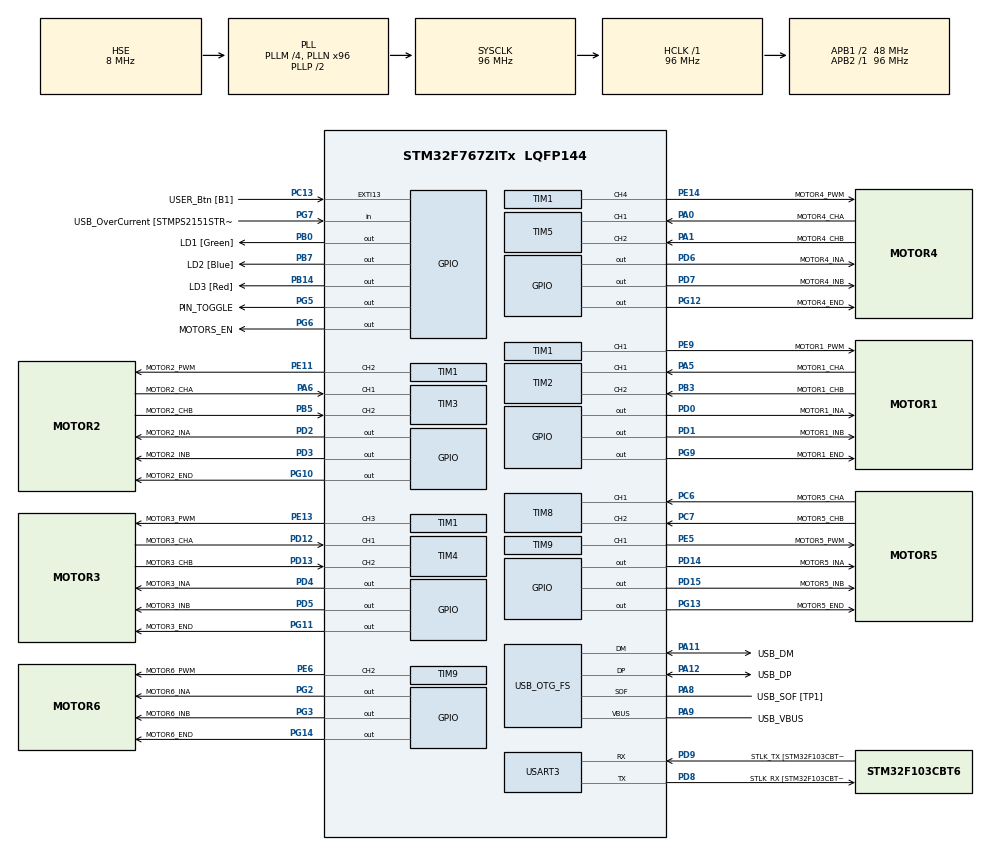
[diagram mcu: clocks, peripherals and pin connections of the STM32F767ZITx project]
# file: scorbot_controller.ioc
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Dma.Request0=USART3_TX
Dma.Request1=USART3_RX
Dma.USART3_RX.1.Direction=DMA_PERIPH_TO_MEMORY
Dma.USART3_RX.1.FIFOMode=DMA_FIFOMODE_DISABLE
Dma.USART3_RX.1.Instance=DMA1_Stream1
Dma.USART3_RX.1.MemDataAlignment=DMA_MDATAALIGN_BYTE
Dma.USART3_RX.1.MemInc=DMA_MINC_ENABLE
Dma.USART3_RX.1.Mode=DMA_CIRCULAR
Dma.USART3_RX.1.PeriphDataAlignment=DMA_PDATAALIGN_BYTE
Dma.USART3_RX.1.PeriphInc=DMA_PINC_DISABLE
Dma.USART3_RX.1.Priority=DMA_PRIORITY_VERY_HIGH
Dma.USART3_TX.0.Direction=DMA_MEMORY_TO_PERIPH
Dma.USART3_TX.0.FIFOMode=DMA_FIFOMODE_DISABLE
Dma.USART3_TX.0.Instance=DMA1_Stream3
Dma.USART3_TX.0.MemDataAlignment=DMA_MDATAALIGN_BYTE
Dma.USART3_TX.0.MemInc=DMA_MINC_ENABLE
Dma.USART3_TX.0.Mode=DMA_NORMAL
Dma.USART3_TX.0.PeriphDataAlignment=DMA_PDATAALIGN_BYTE
Dma.USART3_TX.0.PeriphInc=DMA_PINC_DISABLE
Dma.USART3_TX.0.Priority=DMA_PRIORITY_VERY_HIGH
FREERTOS.Tasks01=defaultTask,24,3000,StartDefaultTask,Default,NULL,Dynamic,NULL,NULL
FREERTOS.configUSE_NEWLIB_REENTRANT=1
Mcu.Family=STM32F7
Mcu.Name=STM32F767ZITx
Mcu.Package=LQFP144
NVIC.DMA1_Stream1_IRQn=true\:5\:0\:false\:false\:true\:true\:false\:true\:true
NVIC.DMA1_Stream3_IRQn=true\:5\:0\:false\:false\:true\:true\:false\:true\:true
NVIC.PriorityGroup=NVIC_PRIORITYGROUP_4
NVIC.TIM6_DAC_IRQn=true\:15\:0\:false\:false\:true\:false\:false\:true\:true
NVIC.TimeBase=TIM6_DAC_IRQn
NVIC.TimeBaseIP=TIM6
NVIC.USART3_IRQn=true\:5\:0\:false\:false\:true\:true\:true\:true\:true
PA0/WKUP.GPIO_Label=MOTOR4_CHA
PA0/WKUP.Signal=S_TIM5_CH1
PA1.GPIO_Label=MOTOR4_CHB
PA1.Signal=S_TIM5_CH2
PA10.GPIO_Label=USB_ID
PA10.Signal=USB_OTG_FS_ID
PA11.GPIO_Label=USB_DM
PA11.Mode=Device_Only
PA11.Signal=USB_OTG_FS_DM
PA12.GPIO_Label=USB_DP
PA12.Mode=Device_Only
PA12.Signal=USB_OTG_FS_DP
PA13.GPIO_Label=TMS
PA13.Mode=Serial_Wire
PA13.Signal=SYS_JTMS-SWDIO
PA14.GPIO_Label=TCK
PA14.Mode=Serial_Wire
PA14.Signal=SYS_JTCK-SWCLK
PA5.GPIO_Label=MOTOR1_CHA
PA5.Signal=S_TIM2_CH1_ETR
PA6.GPIO_Label=MOTOR2_CHA
PA6.Signal=S_TIM3_CH1
PA8.GPIO_Label=USB_SOF [TP1]
PA8.Mode=Activate_SOF_FS
PA8.Signal=USB_OTG_FS_SOF
PA9.GPIO_Label=USB_VBUS
PA9.Mode=Activate_VBUS
PA9.Signal=USB_OTG_FS_VBUS
PB0.GPIO_Label=LD1 [Green]
PB0.Signal=GPIO_Output
PB14.GPIO_Label=LD3 [Red]
PB14.Signal=GPIO_Output
PB3.GPIO_Label=MOTOR1_CHB
PB3.Signal=S_TIM2_CH2
PB5.GPIO_Label=MOTOR2_CHB
PB5.Signal=S_TIM3_CH2
PB7.GPIO_Label=LD2 [Blue]
PB7.Signal=GPIO_Output
PC13.GPIO_Label=USER_Btn [B1]
PC13.Signal=GPXTI13
PC14/OSC32_IN.Signal=RCC_OSC32_IN
PC15/OSC32_OUT.Signal=RCC_OSC32_OUT
PC6.GPIO_Label=MOTOR5_CHA
PC6.Signal=S_TIM8_CH1
PC7.GPIO_Label=MOTOR5_CHB
PC7.Signal=S_TIM8_CH2
PD0.GPIO_Label=MOTOR1_INA
PD0.Signal=GPIO_Output
PD1.GPIO_Label=MOTOR1_INB
PD1.Signal=GPIO_Output
PD12.GPIO_Label=MOTOR3_CHA
PD12.Signal=S_TIM4_CH1
PD13.GPIO_Label=MOTOR3_CHB
PD13.Signal=S_TIM4_CH2
PD14.GPIO_Label=MOTOR5_INA
PD14.Signal=GPIO_Output
PD15.GPIO_Label=MOTOR5_INB
PD15.Signal=GPIO_Output
PD2.GPIO_Label=MOTOR2_INA
PD2.Signal=GPIO_Output
PD3.GPIO_Label=MOTOR2_INB
PD3.Signal=GPIO_Output
PD4.GPIO_Label=MOTOR3_INA
PD4.Signal=GPIO_Output
PD5.GPIO_Label=MOTOR3_INB
PD5.Signal=GPIO_Output
PD6.GPIO_Label=MOTOR4_INA
PD6.Signal=GPIO_Output
PD7.GPIO_Label=MOTOR4_INB
PD7.Signal=GPIO_Output
PD8.GPIO_Label=STLK_RX [STM32F103CBT6_PA3]
PD8.Mode=Asynchronous
PD8.Signal=USART3_TX
PD9.GPIO_Label=STLK_TX [STM32F103CBT6_PA2]
PD9.Mode=Asynchronous
PD9.Signal=USART3_RX
PE11.GPIO_Label=MOTOR2_PWM
PE11.Signal=S_TIM1_CH2
PE13.GPIO_Label=MOTOR3_PWM
PE13.Signal=S_TIM1_CH3
PE14.GPIO_Label=MOTOR4_PWM
PE14.Signal=S_TIM1_CH4
PE5.GPIO_Label=MOTOR5_PWM
PE5.Signal=S_TIM9_CH1
PE6.GPIO_Label=MOTOR6_PWM
PE6.Signal=S_TIM9_CH2
PE9.GPIO_Label=MOTOR1_PWM
PE9.Signal=S_TIM1_CH1
PG10.GPIO_Label=MOTOR2_END
PG10.Signal=GPIO_Output
PG11.GPIO_Label=MOTOR3_END
PG11.Signal=GPIO_Output
PG12.GPIO_Label=MOTOR4_END
PG12.Signal=GPIO_Output
PG13.GPIO_Label=MOTOR5_END
PG13.Signal=GPIO_Output
PG14.GPIO_Label=MOTOR6_END
PG14.Signal=GPIO_Output
PG2.GPIO_Label=MOTOR6_INA
PG2.Signal=GPIO_Output
PG3.GPIO_Label=MOTOR6_INB
PG3.Signal=GPIO_Output
PG5.GPIO_Label=PIN_TOGGLE
PG5.Signal=GPIO_Output
PG6.GPIO_Label=MOTORS_EN
PG6.Signal=GPIO_Output
PG7.GPIO_Label=USB_OverCurrent [STMPS2151STR_FAULT]
PG7.Signal=GPIO_Input
PG9.GPIO_Label=MOTOR1_END
PG9.Signal=GPIO_Output
PH0/OSC_IN.GPIO_Label=MCO [STM32F103CBT6_PA8]
PH0/OSC_IN.Mode=HSE-External-Oscillator
PH0/OSC_IN.Signal=RCC_OSC_IN
PH1/OSC_OUT.Mode=HSE-External-Oscillator
PH1/OSC_OUT.Signal=RCC_OSC_OUT
ProjectManager.HeapSize=0x200
ProjectManager.StackSize=0x400
ProjectManager.TargetToolchain=STM32CubeIDE
RCC.48MHZClocksFreq_Value=24000000
RCC.AHBFreq_Value=96000000
RCC.APB1CLKDivider=RCC_HCLK_DIV2
RCC.APB1Freq_Value=48000000
RCC.APB1TimFreq_Value=96000000
RCC.APB2Freq_Value=96000000
RCC.APB2TimFreq_Value=96000000
RCC.CortexFreq_Value=96000000
RCC.HCLKFreq_Value=96000000
RCC.HSE_VALUE=8000000
RCC.HSI_VALUE=16000000
RCC.LSE_VALUE=32768
RCC.PLLM=4
RCC.PLLMUL=RCC_PLL_MUL9
RCC.PLLN=96
RCC.PLLQ=4
RCC.PRESCALERUSB=RCC_USBCLKSOURCE_PLL_DIV1_5
RCC.SYSCLKFreq_VALUE=96000000
RCC.SYSCLKSource=RCC_SYSCLKSOURCE_PLLCLK
RCC.SYSCLKSourceVirtual=RCC_SYSCLKSOURCE_PLLCLK
RCC.USBFreq_Value=48000000
RCC.VCOOutputFreq_Value=192000000
SH.S_TIM1_CH1.0=TIM1_CH1,PWM Generation1 CH1
SH.S_TIM1_CH2.0=TIM1_CH2,PWM Generation2 CH2
SH.S_TIM1_CH3.0=TIM1_CH3,PWM Generation3 CH3
SH.S_TIM1_CH4.0=TIM1_CH4,PWM Generation4 CH4
SH.S_TIM2_CH1_ETR.0=TIM2_CH1,Encoder_Interface
SH.S_TIM2_CH2.0=TIM2_CH2,Encoder_Interface
SH.S_TIM3_CH1.0=TIM3_CH1,Encoder_Interface
SH.S_TIM3_CH2.0=TIM3_CH2,Encoder_Interface
SH.S_TIM4_CH1.0=TIM4_CH1,Encoder_Interface
SH.S_TIM4_CH2.0=TIM4_CH2,Encoder_Interface
SH.S_TIM5_CH1.0=TIM5_CH1,Encoder_Interface
SH.S_TIM5_CH2.0=TIM5_CH2,Encoder_Interface
SH.S_TIM8_CH1.0=TIM8_CH1,Encoder_Interface
SH.S_TIM8_CH2.0=TIM8_CH2,Encoder_Interface
SH.S_TIM9_CH1.0=TIM9_CH1,PWM Generation1 CH1
SH.S_TIM9_CH2.0=TIM9_CH2,PWM Generation2 CH2
TIM1.Channel-PWM\ Generation1\ CH1=TIM_CHANNEL_1
TIM1.Channel-PWM\ Generation2\ CH2=TIM_CHANNEL_2
TIM1.Channel-PWM\ Generation3\ CH3=TIM_CHANNEL_3
TIM1.Channel-PWM\ Generation4\ CH4=TIM_CHANNEL_4
TIM1.Period=32767
TIM1.Prescaler=0
TIM9.Channel-PWM\ Generation1\ CH1=TIM_CHANNEL_1
TIM9.Channel-PWM\ Generation2\ CH2=TIM_CHANNEL_2
USART3.VirtualMode-Asynchronous=VM_ASYNC
USB_OTG_FS.VirtualMode=Device_Only
VP_FREERTOS_VS_CMSIS_V2.Mode=CMSIS_V2
VP_SYS_VS_tim6.Mode=TIM6
VP_TIM1_VS_ClockSourceINT.Mode=Internal
board=NUCLEO-F767ZI

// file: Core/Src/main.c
/* USER CODE BEGIN Header */
/**
  ******************************************************************************
  * @file           : main.c
  * @brief          : Main program body
  ******************************************************************************
  * @attention
  *
  * Copyright (c) 2023 STMicroelectronics.
  * All rights reserved.
  *
  * This software is licensed under terms that can be found in the LICENSE file
  * in the root directory of this software component.
  * If no LICENSE file comes with this software, it is provided AS-IS.
  *
  ******************************************************************************
  */
/* USER CODE END Header */
#include "main.h"
#include "cmsis_os.h"
#include "dma.h"
#include "tim.h"
#include "usart.h"
#include "usb_otg.h"
#include "gpio.h"

/* USER CODE BEGIN Includes */
//#include "components.hpp"

#include <sys/time.h>
#include <dma_transport.h>

#include <racs_services/srv/control.h>
#include <racs_services/srv/setup.h>
#include <rcl/error_handling.h>
#include <rcl/rcl.h>
#include <rclc/executor.h>
#include <rclc/rclc.h>
#include <rmw_microros/custom_transport.h>
#include <rmw_microros/rmw_microros.h>
#include <rmw_microxrcedds_c/config.h>
#include <uxr/client/transport.h>

/* USER CODE END Includes */

void SystemClock_Config(void);
void MX_FREERTOS_Init(void);

/* USER CODE BEGIN 0 */

void control_callback(const void* request_msg, void* response_msg){
		racs_services__srv__Control_Request* req_in =
				(racs_services__srv__Control_Request*) request_msg;
		racs_services__srv__Control_Response* res_in =
				(racs_services__srv__Control_Response*) response_msg;
		//logica
	}

void setup_callback(const void* request_msg, void* response_msg){
		racs_services__srv__Setup_Request* req_in =
				(racs_services__srv__Setup_Request*) request_msg;
		racs_services__srv__Setup_Response* res_in =
				(racs_services__srv__Setup_Response*) response_msg;

		res_in->response = 0b00000011;
	}

/*Robot create_robot() {

	PinControl mot1_ina = PinControl(PORT_MOTOR_1_INA, PIN_MOTOR_1_INA);
	PinControl mot1_inb = PinControl(PORT_MOTOR_1_INB, PIN_MOTOR_1_INB);
	//htimpwm
	PinMeasure mot1_cha = PinMeasure(MOTOR_1_CHA, true);
	PinMeasure mot1_chb = PinMeasure(MOTOR_1_CHB, true);
	PinMeasure mot1_end = PinMeasure(MOTOR_1_END);

	PinControl mot2_ina = PinControl(MOTOR_2_INA);
	PinControl mot2_inb = PinControl(MOTOR_2_INB);
	PinControl mot2_pwm = PinControl(MOTOR_2_PWM);
	PinMeasure mot2_cha = PinMeasure(MOTOR_2_CHA, true);
	PinMeasure mot2_chb = PinMeasure(MOTOR_2_CHB, true);
	PinMeasure mot2_end = PinMeasure(MOTOR_2_END);

	PinControl mot3_ina = PinControl(MOTOR_3_INA);
	PinControl mot3_inb = PinControl(MOTOR_3_INB);
	PinControl mot3_pwm = PinControl(MOTOR_3_PWM);
	PinMeasure mot3_cha = PinMeasure(MOTOR_3_CHA, true);
	PinMeasure mot3_chb = PinMeasure(MOTOR_3_CHB, true);
	PinMeasure mot3_end = PinMeasure(MOTOR_3_END);

	PinControl mot4_ina = PinControl(MOTOR_4_INA);
	PinControl mot4_inb = PinControl(MOTOR_4_INB);
	PinControl mot4_pwm = PinControl(MOTOR_4_PWM);
	PinMeasure mot4_cha = PinMeasure(MOTOR_4_CHA, true);
	PinMeasure mot4_chb = PinMeasure(MOTOR_4_CHB, true);
	PinMeasure mot4_end = PinMeasure(MOTOR_4_END);

	PinControl mot5_ina = PinControl(MOTOR_5_INA);
	PinControl mot5_inb = PinControl(MOTOR_5_INB);
	PinControl mot5_pwm = PinControl(MOTOR_5_PWM);
	PinMeasure mot5_cha = PinMeasure(MOTOR_5_CHA, true);
	PinMeasure mot5_chb = PinMeasure(MOTOR_5_CHB, true);
	PinMeasure mot5_end = PinMeasure(MOTOR_5_END);

	PinControl mot6_ina = PinControl(MOTOR_6_INA);
	PinControl mot6_inb = PinControl(MOTOR_6_INB);
	PinControl mot6_pwm = PinControl(MOTOR_6_PWM);
	PinMeasure mot6_cha = PinMeasure(MOTOR_6_CHA, true);
	PinMeasure mot6_chb = PinMeasure(MOTOR_6_CHB, true);
	PinMeasure mot6_end = PinMeasure(MOTOR_6_END);

	Motor motor1 = Motor(PinControl &INA, PinControl &INB,
	  		TIM_HandleTypeDef* htimPWM, uint8_t CCRx,
			TIM_HandleTypeDef* htimENC, PinMeasure &END);
	Motor motor2 = Motor(mot2_ina, mot2_inb, mot2_pwm, mot2_cha, mot2_chb, mot2_end);
	Motor motor3 = Motor(mot3_ina, mot3_inb, mot3_pwm, mot3_cha, mot3_chb, mot3_end);
	Motor motor4 = Motor(mot4_ina, mot4_inb, mot4_pwm, mot4_cha, mot4_chb, mot4_end);
	Motor motor5 = Motor(mot5_ina, mot5_inb, mot5_pwm, mot5_cha, mot5_chb, mot5_end);
	Motor motor6 = Motor(mot6_ina, mot6_inb, mot6_pwm, mot6_cha, mot6_chb, mot6_end);
}*/
/* USER CODE END 0 */

int main(void)
{

  /* MCU Configuration--------------------------------------------------------*/

  /* Reset of all peripherals, Initializes the Flash interface and the Systick. */
  HAL_Init();

  /* Configure the system clock */
  SystemClock_Config();

  /* Initialize all configured peripherals */
  MX_GPIO_Init();
  MX_DMA_Init();
  MX_USART3_UART_Init();
  MX_USB_OTG_FS_PCD_Init();
  MX_TIM1_Init();
  MX_TIM2_Init();
  MX_TIM3_Init();
  MX_TIM4_Init();
  MX_TIM5_Init();
  MX_TIM8_Init();
  MX_TIM9_Init();

  /* Init scheduler */
  osKernelInitialize();  /* Call init function for freertos objects (in freertos.c) */
  MX_FREERTOS_Init();

  /* Start scheduler */
  osKernelStart();

  /* We should never get here as control is now taken by the scheduler */
  /* Infinite loop */
  while (1)
  {

  }
}

void SystemClock_Config(void)
{
  RCC_OscInitTypeDef RCC_OscInitStruct = {0};
  RCC_ClkInitTypeDef RCC_ClkInitStruct = {0};

  /** Configure LSE Drive Capability
  */
  HAL_PWR_EnableBkUpAccess();

  /** Configure the main internal regulator output voltage
  */
  __HAL_RCC_PWR_CLK_ENABLE();
  __HAL_PWR_VOLTAGESCALING_CONFIG(PWR_REGULATOR_VOLTAGE_SCALE3);

  /** Initializes the RCC Oscillators according to the specified parameters
  * in the RCC_OscInitTypeDef structure.
  */
  RCC_OscInitStruct.OscillatorType = RCC_OSCILLATORTYPE_HSE;
  RCC_OscInitStruct.HSEState = RCC_HSE_BYPASS;
  RCC_OscInitStruct.PLL.PLLState = RCC_PLL_ON;
  RCC_OscInitStruct.PLL.PLLSource = RCC_PLLSOURCE_HSE;
  RCC_OscInitStruct.PLL.PLLM = 4;
  RCC_OscInitStruct.PLL.PLLN = 96;
  RCC_OscInitStruct.PLL.PLLP = RCC_PLLP_DIV2;
  RCC_OscInitStruct.PLL.PLLQ = 4;
  RCC_OscInitStruct.PLL.PLLR = 2;
  if (HAL_RCC_OscConfig(&RCC_OscInitStruct) != HAL_OK)
  {
    Error_Handler();
  }

  /** Activate the Over-Drive mode
  */
  if (HAL_PWREx_EnableOverDrive() != HAL_OK)
  {
    Error_Handler();
  }

  /** Initializes the CPU, AHB and APB buses clocks
  */
  RCC_ClkInitStruct.ClockType = RCC_CLOCKTYPE_HCLK|RCC_CLOCKTYPE_SYSCLK
                              |RCC_CLOCKTYPE_PCLK1|RCC_CLOCKTYPE_PCLK2;
  RCC_ClkInitStruct.SYSCLKSource = RCC_SYSCLKSOURCE_PLLCLK;
  RCC_ClkInitStruct.AHBCLKDivider = RCC_SYSCLK_DIV1;
  RCC_ClkInitStruct.APB1CLKDivider = RCC_HCLK_DIV2;
  RCC_ClkInitStruct.APB2CLKDivider = RCC_HCLK_DIV1;

  if (HAL_RCC_ClockConfig(&RCC_ClkInitStruct, FLASH_LATENCY_3) != HAL_OK)
  {
    Error_Handler();
  }
}

void HAL_TIM_PeriodElapsedCallback(TIM_HandleTypeDef *htim)
{
  if (htim->Instance == TIM6) {
    HAL_IncTick();
  }
}

void Error_Handler(void)
{
  __disable_irq();
  while (1)
  {
  }
}

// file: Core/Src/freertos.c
/* USER CODE BEGIN Header */
/**
  ******************************************************************************
  * File Name          : freertos.c
  * Description        : Code for freertos applications
  ******************************************************************************
  * @attention
  *
  * Copyright (c) 2023 STMicroelectronics.
  * All rights reserved.
  *
  * This software is licensed under terms that can be found in the LICENSE file
  * in the root directory of this software component.
  * If no LICENSE file comes with this software, it is provided AS-IS.
  *
  ******************************************************************************
  */
/* USER CODE END Header */

#include "FreeRTOS.h"
#include "task.h"
#include "main.h"
#include "cmsis_os.h"

/* USER CODE BEGIN Includes */
#include <racs_services/srv/control.h>
#include <racs_services/srv/setup.h>
#include <rcl/error_handling.h>
#include <rcl/rcl.h>
#include <rclc/executor.h>
#include <rclc/rclc.h>
#include <rmw_microros/custom_transport.h>
#include <rmw_microros/rmw_microros.h>
#include <rmw_microxrcedds_c/config.h>
#include <uxr/client/transport.h>

#include <stdbool.h>
#include "usart.h"
#include <dma_transport.h>
#include <micro_ros_allocators.h>
/* USER CODE END Includes */

/* Definitions for defaultTask */
osThreadId_t defaultTaskHandle;
const osThreadAttr_t defaultTask_attributes = {
  .name = "defaultTask",
  .stack_size = 3000 * 4,
  .priority = (osPriority_t) osPriorityNormal,
};

void StartDefaultTask(void *argument);

void MX_FREERTOS_Init(void); /* (MISRA C 2004 rule 8.1) */

void MX_FREERTOS_Init(void) {

  /* Create the thread(s) */
  /* creation of defaultTask */
  defaultTaskHandle = osThreadNew(StartDefaultTask, NULL, &defaultTask_attributes);

}

void StartDefaultTask(void *argument)
{
  /* USER CODE BEGIN StartDefaultTask */
	rmw_uros_set_custom_transport(
		true,
		(void *) &huart3,
		cubemx_transport_open,
		cubemx_transport_close,
		cubemx_transport_write,
		cubemx_transport_read);

	rcl_allocator_t freeRTOS_allocator = rcutils_get_zero_initialized_allocator();
	freeRTOS_allocator.allocate = microros_allocate;
	freeRTOS_allocator.deallocate = microros_deallocate;
	freeRTOS_allocator.reallocate = microros_reallocate;
	freeRTOS_allocator.zero_allocate =  microros_zero_allocate;

	if (!rcutils_set_default_allocator(&freeRTOS_allocator)) return;

	rcl_ret_t rc;
	rcl_node_t node; // nodo;
	rcl_service_t setup_service, control_service; //servizi
	const char* setup_service_name = "/setup";
	const char* control_service_name = "/control"; //nomi dei servizi
	const rosidl_service_type_support_t* setup_type_support =
		ROSIDL_GET_SRV_TYPE_SUPPORT(racs_services, srv, Setup);
	const rosidl_service_type_support_t* control_type_support =
		ROSIDL_GET_SRV_TYPE_SUPPORT(racs_services, srv, Control);
	rclc_support_t support;// support_p;
	rcl_allocator_t allocator;// allocator_p;

	racs_services__srv__Setup_Request req_setup;
	racs_services__srv__Setup_Response res_setup;
	racs_services__srv__Control_Request req_control;
	racs_services__srv__Control_Response res_control;

	allocator = rcl_get_default_allocator();

	rc = rclc_support_init(&support, 0, NULL, &allocator);
	if (rc != RCL_RET_OK) return;

	rc = rclc_node_init_default(&node, "STM32_node", "", &support);
	if (rc != RCL_RET_OK) return;

	rc = rclc_service_init_default(
		&setup_service, &node, setup_type_support, setup_service_name);

	if (rc != RCL_RET_OK) return;

	rc = rclc_service_init_default(
		&control_service, &node, control_type_support, control_service_name);

	if (rc != RCL_RET_OK) return;

	rclc_executor_t executor;
	executor = rclc_executor_get_zero_initialized_executor();
	unsigned int num_handles = 2;
	rclc_executor_init(&executor, &support.context, num_handles, &allocator);

	rc = rclc_executor_add_service(
		&executor, &setup_service, &req_setup,
		&res_setup, setup_callback);
	if (rc != RCL_RET_OK) return;

	rc = rclc_executor_add_service(
		&executor, &control_service, &req_control,
		&res_control, control_callback);
	if (rc != RCL_RET_OK) return;

	rclc_executor_spin(&executor);
  /* Infinite loop */
  for(;;)
  {
    osDelay(1);
  }
  /* USER CODE END StartDefaultTask */
}
